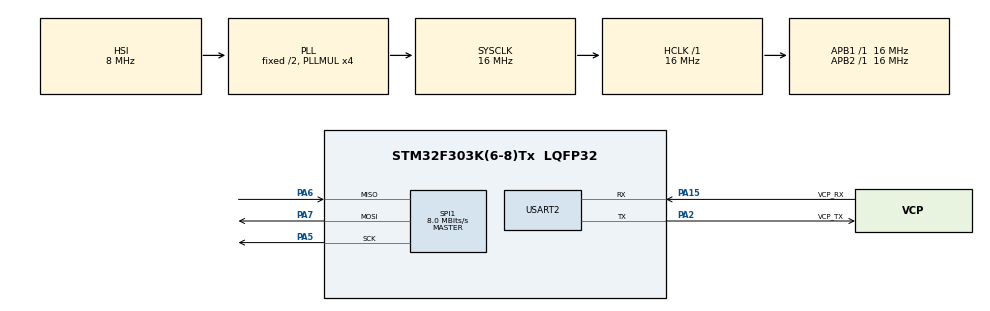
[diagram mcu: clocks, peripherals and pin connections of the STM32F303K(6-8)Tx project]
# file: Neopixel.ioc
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Mcu.Family=STM32F3
Mcu.Name=STM32F303K(6-8)Tx
Mcu.Package=LQFP32
NVIC.PriorityGroup=NVIC_PRIORITYGROUP_4
PA13.GPIO_Label=SWDIO
PA13.Mode=Serial_Wire
PA13.Signal=SYS_JTMS-SWDIO
PA14.GPIO_Label=SWCLK
PA14.Mode=Serial_Wire
PA14.Signal=SYS_JTCK-SWCLK
PA15.GPIO_Label=VCP_RX
PA15.Mode=Asynchronous
PA15.Signal=USART2_RX
PA2.GPIO_Label=VCP_TX
PA2.Mode=Asynchronous
PA2.Signal=USART2_TX
PA5.Mode=Full_Duplex_Master
PA5.Signal=SPI1_SCK
PA6.Mode=Full_Duplex_Master
PA6.Signal=SPI1_MISO
PA7.Mode=Full_Duplex_Master
PA7.Signal=SPI1_MOSI
PF0\ /\ OSC_IN.GPIO_Label=MCO
PF0\ /\ OSC_IN.Mode=HSE-External-Clock-Source
PF0\ /\ OSC_IN.Signal=RCC_OSC_IN
ProjectManager.HeapSize=0x200
ProjectManager.StackSize=0x400
ProjectManager.TargetToolchain=STM32CubeIDE
RCC.AHBFreq_Value=16000000
RCC.APB1Freq_Value=16000000
RCC.APB1TimFreq_Value=16000000
RCC.APB2Freq_Value=16000000
RCC.APB2TimFreq_Value=16000000
RCC.CortexFreq_Value=16000000
RCC.HCLKFreq_Value=16000000
RCC.HSI_VALUE=8000000
RCC.PLLMUL=RCC_PLL_MUL4
RCC.SYSCLKFreq_VALUE=16000000
RCC.SYSCLKSourceVirtual=RCC_SYSCLKSOURCE_PLLCLK
SPI1.BaudRatePrescaler=SPI_BAUDRATEPRESCALER_2
SPI1.CalculateBaudRate=8.0 MBits/s
SPI1.DataSize=SPI_DATASIZE_8BIT
SPI1.Direction=SPI_DIRECTION_2LINES
SPI1.Mode=SPI_MODE_MASTER
SPI1.VirtualType=VM_MASTER
USART2.VirtualMode-Asynchronous=VM_ASYNC
board=NUCLEO-F303K8

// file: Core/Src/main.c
/* USER CODE BEGIN Header */
/**
  ******************************************************************************
  * @file           : main.c
  * @brief          : Main program body
  ******************************************************************************
  * @attention
  *
  * Copyright (c) 2024 STMicroelectronics.
  * All rights reserved.
  *
  * This software is licensed under terms that can be found in the LICENSE file
  * in the root directory of this software component.
  * If no LICENSE file comes with this software, it is provided AS-IS.
  *
  ******************************************************************************
  */
/* USER CODE END Header */
#include "main.h"

SPI_HandleTypeDef hspi1;

UART_HandleTypeDef huart2;

void SystemClock_Config(void);
static void MX_GPIO_Init(void);
static void MX_USART2_UART_Init(void);
static void MX_SPI1_Init(void);

/* USER CODE BEGIN 0 */
#define NEOPIXEL_0      0b11000000
#define NEOPIXEL_1      0b11111100
#define NEOPIXEL_RESET  0b00000000
#define NEOPIXEL_COUNT  30
#define NEOPIXEL_SIGNAL_CLOCK_COUNT 8

typedef struct {
    uint8_t r;
    uint8_t g;
    uint8_t b;
} RGB;

RGB g_neoPixels[NEOPIXEL_COUNT];

void UpdateNeoPixelBuffer(uint32_t pixelIndex, RGB newValue){
    if (pixelIndex >= NEOPIXEL_COUNT){
        return;
    }

    g_neoPixels[pixelIndex].r = newValue.r;
    g_neoPixels[pixelIndex].g = newValue.g;
    g_neoPixels[pixelIndex].b = newValue.b;
}

void TurnOffNeoPixelBuffer(uint32_t pixelIndex){
    if (pixelIndex >= NEOPIXEL_COUNT){
        return;
    }

    g_neoPixels[pixelIndex].r = 0;
    g_neoPixels[pixelIndex].g = 0;
    g_neoPixels[pixelIndex].b = 0;
}

void ResetNeoPixel(){
    uint8_t txValue = NEOPIXEL_RESET;
    uint32_t i = 0;

    // SPI Clock: 8MHz
    // Send Low >50us
    // 8 * 50 / 1e-6 = 400
    for (i = 0; i < 512; i++){
        HAL_SPI_Transmit(&hspi1, &txValue, 1, 100);
    }
}

void UpdateNeoPixel(){
    uint32_t i, j = 0;
    uint8_t txValue;

    ResetNeoPixel();

    for (i=0; i < NEOPIXEL_COUNT; i++){
        for (j=0; j<NEOPIXEL_SIGNAL_CLOCK_COUNT; j++){
            txValue = g_neoPixels[i].g & 0x80 >> j ? NEOPIXEL_1 : NEOPIXEL_0;
            HAL_SPI_Transmit(&hspi1, &txValue, 1, 100);
        }

        for (j=0; j<NEOPIXEL_SIGNAL_CLOCK_COUNT; j++){
            txValue = g_neoPixels[i].r & 0x80 >> j ? NEOPIXEL_1 : NEOPIXEL_0;
            HAL_SPI_Transmit(&hspi1, &txValue, 1, 100);
        }

        for (j=0; j<NEOPIXEL_SIGNAL_CLOCK_COUNT; j++){
            txValue = g_neoPixels[i].b & 0x80 >> j ? NEOPIXEL_1 : NEOPIXEL_0;
            HAL_SPI_Transmit(&hspi1, &txValue, 1, 100);
        }
    }
}

/* USER CODE END 0 */

int main(void)
{

  /* MCU Configuration--------------------------------------------------------*/

  /* Reset of all peripherals, Initializes the Flash interface and the Systick. */
  HAL_Init();

  /* Configure the system clock */
  SystemClock_Config();

  /* Initialize all configured peripherals */
  MX_GPIO_Init();
  MX_USART2_UART_Init();
  MX_SPI1_Init();

  /* Infinite loop */
  while (1)
  {

    /* USER CODE BEGIN 3 */
	  for(int k = 0; k<5; k++){
		  TurnOffNeoPixelBuffer(k);
	  }
	  UpdateNeoPixel();
  }
  /* USER CODE END 3 */
}

void SystemClock_Config(void)
{
  RCC_OscInitTypeDef RCC_OscInitStruct = {0};
  RCC_ClkInitTypeDef RCC_ClkInitStruct = {0};

  /** Initializes the RCC Oscillators according to the specified parameters
  * in the RCC_OscInitTypeDef structure.
  */
  RCC_OscInitStruct.OscillatorType = RCC_OSCILLATORTYPE_HSI;
  RCC_OscInitStruct.HSIState = RCC_HSI_ON;
  RCC_OscInitStruct.HSICalibrationValue = RCC_HSICALIBRATION_DEFAULT;
  RCC_OscInitStruct.PLL.PLLState = RCC_PLL_ON;
  RCC_OscInitStruct.PLL.PLLSource = RCC_PLLSOURCE_HSI;
  RCC_OscInitStruct.PLL.PLLMUL = RCC_PLL_MUL4;
  if (HAL_RCC_OscConfig(&RCC_OscInitStruct) != HAL_OK)
  {
    Error_Handler();
  }

  /** Initializes the CPU, AHB and APB buses clocks
  */
  RCC_ClkInitStruct.ClockType = RCC_CLOCKTYPE_HCLK|RCC_CLOCKTYPE_SYSCLK
                              |RCC_CLOCKTYPE_PCLK1|RCC_CLOCKTYPE_PCLK2;
  RCC_ClkInitStruct.SYSCLKSource = RCC_SYSCLKSOURCE_PLLCLK;
  RCC_ClkInitStruct.AHBCLKDivider = RCC_SYSCLK_DIV1;
  RCC_ClkInitStruct.APB1CLKDivider = RCC_HCLK_DIV1;
  RCC_ClkInitStruct.APB2CLKDivider = RCC_HCLK_DIV1;

  if (HAL_RCC_ClockConfig(&RCC_ClkInitStruct, FLASH_LATENCY_0) != HAL_OK)
  {
    Error_Handler();
  }
}

static void MX_SPI1_Init(void)
{

  /* SPI1 parameter configuration*/
  hspi1.Instance = SPI1;
  hspi1.Init.Mode = SPI_MODE_MASTER;
  hspi1.Init.Direction = SPI_DIRECTION_2LINES;
  hspi1.Init.DataSize = SPI_DATASIZE_8BIT;
  hspi1.Init.CLKPolarity = SPI_POLARITY_LOW;
  hspi1.Init.CLKPhase = SPI_PHASE_1EDGE;
  hspi1.Init.NSS = SPI_NSS_SOFT;
  hspi1.Init.BaudRatePrescaler = SPI_BAUDRATEPRESCALER_2;
  hspi1.Init.FirstBit = SPI_FIRSTBIT_MSB;
  hspi1.Init.TIMode = SPI_TIMODE_DISABLE;
  hspi1.Init.CRCCalculation = SPI_CRCCALCULATION_DISABLE;
  hspi1.Init.CRCPolynomial = 7;
  hspi1.Init.CRCLength = SPI_CRC_LENGTH_DATASIZE;
  hspi1.Init.NSSPMode = SPI_NSS_PULSE_ENABLE;
  if (HAL_SPI_Init(&hspi1) != HAL_OK)
  {
    Error_Handler();
  }

}

static void MX_USART2_UART_Init(void)
{

  huart2.Instance = USART2;
  huart2.Init.BaudRate = 38400;
  huart2.Init.WordLength = UART_WORDLENGTH_8B;
  huart2.Init.StopBits = UART_STOPBITS_1;
  huart2.Init.Parity = UART_PARITY_NONE;
  huart2.Init.Mode = UART_MODE_TX_RX;
  huart2.Init.HwFlowCtl = UART_HWCONTROL_NONE;
  huart2.Init.OverSampling = UART_OVERSAMPLING_16;
  huart2.Init.OneBitSampling = UART_ONE_BIT_SAMPLE_DISABLE;
  huart2.AdvancedInit.AdvFeatureInit = UART_ADVFEATURE_NO_INIT;
  if (HAL_UART_Init(&huart2) != HAL_OK)
  {
    Error_Handler();
  }

}

static void MX_GPIO_Init(void)
{

  /* GPIO Ports Clock Enable */
  __HAL_RCC_GPIOF_CLK_ENABLE();
  __HAL_RCC_GPIOA_CLK_ENABLE();

}

void Error_Handler(void)
{
  __disable_irq();
  while (1)
  {
  }
}
